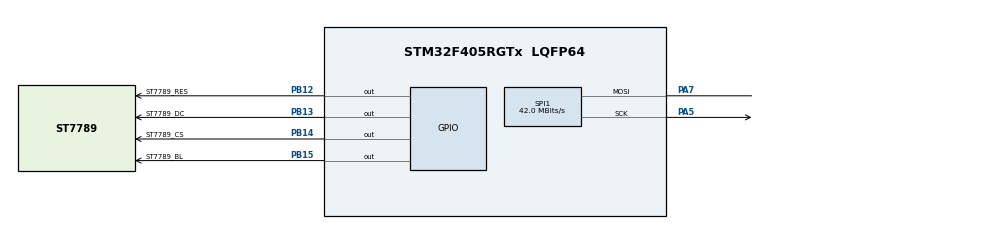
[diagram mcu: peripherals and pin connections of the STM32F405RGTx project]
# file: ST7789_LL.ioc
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Dma.Request0=SPI1_TX
Dma.SPI1_TX.0.Direction=DMA_MEMORY_TO_PERIPH
Dma.SPI1_TX.0.FIFOMode=DMA_FIFOMODE_DISABLE
Dma.SPI1_TX.0.Instance=DMA2_Stream3
Dma.SPI1_TX.0.MemDataAlignment=DMA_MDATAALIGN_HALFWORD
Dma.SPI1_TX.0.MemInc=DMA_MINC_ENABLE
Dma.SPI1_TX.0.Mode=DMA_NORMAL
Dma.SPI1_TX.0.PeriphDataAlignment=DMA_PDATAALIGN_HALFWORD
Dma.SPI1_TX.0.PeriphInc=DMA_PINC_DISABLE
Dma.SPI1_TX.0.Priority=DMA_PRIORITY_LOW
Mcu.Family=STM32F4
Mcu.Name=STM32F405RGTx
Mcu.Package=LQFP64
NVIC.DMA2_Stream3_IRQn=true\:0\:0\:false\:false\:true\:false\:true
NVIC.PriorityGroup=NVIC_PRIORITYGROUP_4
PA13.Mode=Serial_Wire
PA13.Signal=SYS_JTMS-SWDIO
PA14.Mode=Serial_Wire
PA14.Signal=SYS_JTCK-SWCLK
PA5.Mode=Simplex_Bidirectional_Master
PA5.Signal=SPI1_SCK
PA7.Mode=Simplex_Bidirectional_Master
PA7.Signal=SPI1_MOSI
PB12.GPIO_Label=ST7789_RES
PB12.Signal=GPIO_Output
PB13.GPIO_Label=ST7789_DC
PB13.Signal=GPIO_Output
PB14.GPIO_Label=ST7789_CS
PB14.Signal=GPIO_Output
PB15.GPIO_Label=ST7789_BL
PB15.Signal=GPIO_Output
PH0-OSC_IN.Mode=HSE-External-Oscillator
PH0-OSC_IN.Signal=RCC_OSC_IN
PH1-OSC_OUT.Mode=HSE-External-Oscillator
PH1-OSC_OUT.Signal=RCC_OSC_OUT
ProjectManager.HeapSize=0x200
ProjectManager.StackSize=0x400
ProjectManager.TargetToolchain=STM32CubeIDE
RCC.48MHZClocksFreq_Value=84000000
RCC.AHBFreq_Value=168000000
RCC.APB1CLKDivider=RCC_HCLK_DIV4
RCC.APB1Freq_Value=42000000
RCC.APB1TimFreq_Value=84000000
RCC.APB2CLKDivider=RCC_HCLK_DIV2
RCC.APB2Freq_Value=84000000
RCC.APB2TimFreq_Value=168000000
RCC.CortexFreq_Value=168000000
RCC.HCLKFreq_Value=168000000
RCC.HSE_VALUE=8000000
RCC.HSI_VALUE=16000000
RCC.LSE_VALUE=32768
RCC.PLLM=8
RCC.PLLN=168
RCC.SYSCLKFreq_VALUE=168000000
RCC.SYSCLKSource=RCC_SYSCLKSOURCE_PLLCLK
RCC.VCOOutputFreq_Value=336000000
SPI1.BaudRatePrescaler=SPI_BAUDRATEPRESCALER_2
SPI1.CLKPhase=SPI_PHASE_2EDGE
SPI1.CalculateBaudRate=42.0 MBits/s
SPI1.Direction=SPI_DIRECTION_1LINE
SPI1.Mode=SPI_MODE_MASTER
SPI1.VirtualType=VM_MASTER
board=custom

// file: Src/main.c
/* USER CODE BEGIN Header */
/**
  ******************************************************************************
  * @file           : main.c
  * @brief          : Main program body
  ******************************************************************************
  * @attention
  *
  * <h2><center>&copy; Copyright (c) 2020 STMicroelectronics.
  * All rights reserved.</center></h2>
  *
  * This software component is licensed by ST under BSD 3-Clause license,
  * the "License"; You may not use this file except in compliance with the
  * License. You may obtain a copy of the License at:
  *                        opensource.org/licenses/BSD-3-Clause
  *
  ******************************************************************************
  */
/* USER CODE END Header */

#include "main.h"
#include <st7789.h>
/* USER CODE BEGIN Includes */
#include "testimg.h"
#include <stdlib.h>
#include <stdio.h>

/* USER CODE END Includes */

/* USER CODE BEGIN PV */
uint8_t r = 0, randomChar, nchars;
extern volatile uint32_t flag_DMA_STREAM3_bsy;
uint32_t ticksStart, ticksEnd;
char str_time[10];
/* USER CODE END PV */

void SystemClock_Config(void);
static void MX_GPIO_Init(void);
static void MX_DMA_Init(void);
static void MX_SPI1_Init(void);

/* USER CODE BEGIN 0 */
void demoTFT(void)
{
    ST7789_SetRotation(r);

    ST7789_FillScreen(ST7789_BLACK);

    ST7789_FillScreen(ST7789_BLACK);

    for (int i = 0; i < ST7789_GetHeight(); i += 4) {
        ST7789_DrawFastHLine(0, i, ST7789_GetWidth() - 1, ST7789_WHITE);
    }

    for (int i = 0; i < ST7789_GetWidth(); i += 4) {
        ST7789_DrawFastVLine(i, 0, ST7789_GetHeight() - 1, ST7789_WHITE);
    }

    LL_mDelay(2000);

    // Check colors
    ST7789_FillScreen(ST7789_BLACK);
    ticksEnd = SysTick->VAL;
    ST7789_DrawText("BLACK", FONT5, 5, 1, ST7789_WHITE, ST7789_BLACK);
    LL_mDelay(500);

    ST7789_FillScreen(ST7789_Color565(0, 0, 255));
    ST7789_DrawText("BLUE", FONT5, 5, 1, ST7789_WHITE, ST7789_BLUE);
    LL_mDelay(500);

    ST7789_FillScreen(ST7789_Color565(255, 0, 0));
    ST7789_DrawText("RED", FONT5, 5, 1, ST7789_WHITE, ST7789_RED);
    LL_mDelay(500);

    ST7789_FillScreen(ST7789_Color565(0, 255, 0));
    ;
    ST7789_DrawText("GREEN", FONT5, 5, 1, ST7789_WHITE, ST7789_GREEN);
    LL_mDelay(500);

    ST7789_FillScreen(ST7789_CYAN);
    ST7789_DrawText("CYAN", FONT5, 5, 1, ST7789_WHITE, ST7789_CYAN);
    LL_mDelay(500);

    ST7789_FillScreen(ST7789_MAGENTA);
    ST7789_DrawText("MAGENTA", FONT5, 5, 1, ST7789_WHITE, ST7789_MAGENTA);
    LL_mDelay(500);

    ST7789_FillScreen(ST7789_YELLOW);
    ST7789_DrawText("YELLOW", FONT5, 5, 1, ST7789_WHITE, ST7789_YELLOW);
    LL_mDelay(500);

    ST7789_FillScreen(ST7789_WHITE);
    ST7789_DrawText("WHITE", FONT5, 5, 1, ST7789_BLACK, ST7789_WHITE);
    LL_mDelay(500);

    // Draw circles
    ST7789_FillScreen(ST7789_BLACK);
    for (int i = 0; i < ST7789_GetHeight() / 2; i += 2) {
        ST7789_DrawCircle(ST7789_GetWidth() / 2, ST7789_GetHeight() / 2, i, ST7789_YELLOW);
    }
    LL_mDelay(1000);

    ST7789_FillScreen(ST7789_BLACK);
    ST7789_FillTriangle(0, 0, ST7789_GetWidth() / 2, ST7789_GetHeight(), ST7789_GetWidth(), 0, ST7789_RED);
    LL_mDelay(1000);

    ST7789_FillScreen(ST7789_BLACK);

    SysTick->CTRL = 0; // Disable SysTick
    SysTick->LOAD = 0xFFFFFF; // Count down from maximum value
    SysTick->VAL = 0; // Clear current value to 0
    SysTick->CTRL = 0x5; // Enable SysTick,  and use processor clock
    while (SysTick->VAL == 0)
        ; // Wait until SysTick reloaded
    ticksStart = SysTick->VAL; // Read start time value

    ST7789_DrawImage(0, 0, 128, 128, (uint16_t*)test_img_128x128);

    ticksEnd = SysTick->VAL;
    SysTick->CTRL = 0; // Disable SysTick
    if ((SysTick->CTRL & 0x10000) == 0) // if no overflow
        nchars = sprintf(str_time, "Ticks: %lu", ticksStart - ticksEnd); // Calculate total cycles
    else
        nchars = sprintf(str_time, "overflow");

    ST7789_DrawText(str_time, FONT3, 5, 110, ST7789_WHITE, ST7789_BLACK);
    SysTick->LOAD = 0x1193F;
    SysTick->CTRL = 0x5; // Enable SysTick
    LL_mDelay(3000);

    ST7789_FillScreen(ST7789_BLACK);
    ST7789_DrawText("Custom font", FONT6, 5, 15, ST7789_WHITE, ST7789_BLACK);
    ST7789_DrawText("ABCDEFGHI", FONT6, 5, 40, ST7789_WHITE, ST7789_BLACK);
    ST7789_DrawText("lmnopqrst", FONT6, 5, 65, ST7789_WHITE, ST7789_BLACK);
    ST7789_DrawText("0123456789", FONT6, 5, 90, ST7789_WHITE, ST7789_BLACK);
    LL_mDelay(2000);
    r++;
}
/* USER CODE END 0 */

int main(void)
{

  /* MCU Configuration--------------------------------------------------------*/

  /* Reset of all peripherals, Initializes the Flash interface and the Systick. */

  LL_APB2_GRP1_EnableClock(LL_APB2_GRP1_PERIPH_SYSCFG);
  LL_APB1_GRP1_EnableClock(LL_APB1_GRP1_PERIPH_PWR);

  NVIC_SetPriorityGrouping(NVIC_PRIORITYGROUP_4);

  /* System interrupt init*/

  /* Configure the system clock */
  SystemClock_Config();

  /* Initialize all configured peripherals */
  MX_GPIO_Init();
  MX_DMA_Init();
  MX_SPI1_Init();
  /* USER CODE BEGIN 2 */
  LL_DMA_DisableStream(DMA2, LL_DMA_STREAM_3);
  LL_SPI_Enable(SPI1);
  ST7789_Init();
  /* USER CODE END 2 */

  /* Infinite loop */
  while (1)
  {

    /* USER CODE BEGIN 3 */
     demoTFT();
  }
  /* USER CODE END 3 */
}

void SystemClock_Config(void)
{
  /* Set up Art acceleration */
  LL_FLASH_EnablePrefetch(); // enable Prefetch
  LL_FLASH_EnableInstCache(); // Enable Instruction cache
  LL_FLASH_EnableDataCache(); //  Enable Data cache
  LL_FLASH_SetLatency(LL_FLASH_LATENCY_5);

  if(LL_FLASH_GetLatency() != LL_FLASH_LATENCY_5)
  {
  Error_Handler();
  }
  LL_PWR_SetRegulVoltageScaling(LL_PWR_REGU_VOLTAGE_SCALE1);
  LL_RCC_HSE_Enable();

   /* Wait till HSE is ready */
  while(LL_RCC_HSE_IsReady() != 1)
  {

  }
  LL_RCC_PLL_ConfigDomain_SYS(LL_RCC_PLLSOURCE_HSE, LL_RCC_PLLM_DIV_4, 168, LL_RCC_PLLP_DIV_2);
  LL_RCC_PLL_Enable();

   /* Wait till PLL is ready */
  while(LL_RCC_PLL_IsReady() != 1)
  {

  }
  LL_RCC_SetAHBPrescaler(LL_RCC_SYSCLK_DIV_1);
  LL_RCC_SetAPB1Prescaler(LL_RCC_APB1_DIV_4);
  LL_RCC_SetAPB2Prescaler(LL_RCC_APB2_DIV_2);
  LL_RCC_SetSysClkSource(LL_RCC_SYS_CLKSOURCE_PLL);

   /* Wait till System clock is ready */
  while(LL_RCC_GetSysClkSource() != LL_RCC_SYS_CLKSOURCE_STATUS_PLL)
  {

  }
  LL_Init1msTick(168000000);
  LL_SetSystemCoreClock(168000000);
}

static void MX_SPI1_Init(void)
{

  LL_SPI_InitTypeDef SPI_InitStruct = {0};

  LL_GPIO_InitTypeDef GPIO_InitStruct = {0};

  /* Peripheral clock enable */
  LL_APB2_GRP1_EnableClock(LL_APB2_GRP1_PERIPH_SPI1);

  LL_AHB1_GRP1_EnableClock(LL_AHB1_GRP1_PERIPH_GPIOA);
  /**SPI1 GPIO Configuration
  PA5   ------> SPI1_SCK
  PA7   ------> SPI1_MOSI
  */
  GPIO_InitStruct.Pin = LL_GPIO_PIN_5|LL_GPIO_PIN_7;
  GPIO_InitStruct.Mode = LL_GPIO_MODE_ALTERNATE;
  GPIO_InitStruct.Speed = LL_GPIO_SPEED_FREQ_VERY_HIGH;
  GPIO_InitStruct.OutputType = LL_GPIO_OUTPUT_PUSHPULL;
  GPIO_InitStruct.Pull = LL_GPIO_PULL_NO;
  GPIO_InitStruct.Alternate = LL_GPIO_AF_5;
  LL_GPIO_Init(GPIOA, &GPIO_InitStruct);

  /* SPI1 DMA Init */

  /* SPI1_TX Init */
  LL_DMA_SetChannelSelection(DMA2, LL_DMA_STREAM_3, LL_DMA_CHANNEL_3);
  LL_DMA_SetDataTransferDirection(DMA2, LL_DMA_STREAM_3, LL_DMA_DIRECTION_MEMORY_TO_PERIPH);
  LL_DMA_SetStreamPriorityLevel(DMA2, LL_DMA_STREAM_3, LL_DMA_PRIORITY_LOW);
  LL_DMA_SetMode(DMA2, LL_DMA_STREAM_3, LL_DMA_MODE_NORMAL);
  LL_DMA_SetPeriphIncMode(DMA2, LL_DMA_STREAM_3, LL_DMA_PERIPH_NOINCREMENT);
  LL_DMA_SetMemoryIncMode(DMA2, LL_DMA_STREAM_3, LL_DMA_MEMORY_INCREMENT);
  LL_DMA_SetPeriphSize(DMA2, LL_DMA_STREAM_3, LL_DMA_PDATAALIGN_HALFWORD);
  LL_DMA_SetMemorySize(DMA2, LL_DMA_STREAM_3, LL_DMA_MDATAALIGN_HALFWORD);
  LL_DMA_DisableFifoMode(DMA2, LL_DMA_STREAM_3);

  /* SPI1 parameter configuration*/
  SPI_InitStruct.TransferDirection = LL_SPI_HALF_DUPLEX_TX;
  SPI_InitStruct.Mode = LL_SPI_MODE_MASTER;
  SPI_InitStruct.DataWidth = LL_SPI_DATAWIDTH_8BIT;
  SPI_InitStruct.ClockPolarity = LL_SPI_POLARITY_HIGH;
  SPI_InitStruct.ClockPhase = LL_SPI_PHASE_2EDGE;
  SPI_InitStruct.NSS = LL_SPI_NSS_SOFT;
  SPI_InitStruct.BaudRate = LL_SPI_BAUDRATEPRESCALER_DIV2;
  SPI_InitStruct.BitOrder = LL_SPI_MSB_FIRST;
  SPI_InitStruct.CRCCalculation = LL_SPI_CRCCALCULATION_DISABLE;
  SPI_InitStruct.CRCPoly = 10;
  LL_SPI_Init(SPI1, &SPI_InitStruct);
  LL_SPI_SetStandard(SPI1, LL_SPI_PROTOCOL_MOTOROLA);

}

static void MX_DMA_Init(void)
{

  /* Init with LL driver */
  /* DMA controller clock enable */
  LL_AHB1_GRP1_EnableClock(LL_AHB1_GRP1_PERIPH_DMA2);

  /* DMA interrupt init */
  /* DMA2_Stream3_IRQn interrupt configuration */
  NVIC_SetPriority(DMA2_Stream3_IRQn, NVIC_EncodePriority(NVIC_GetPriorityGrouping(),0, 0));
  NVIC_EnableIRQ(DMA2_Stream3_IRQn);

}

static void MX_GPIO_Init(void)
{
  LL_GPIO_InitTypeDef GPIO_InitStruct = {0};

  /* GPIO Ports Clock Enable */
  LL_AHB1_GRP1_EnableClock(LL_AHB1_GRP1_PERIPH_GPIOH);
  LL_AHB1_GRP1_EnableClock(LL_AHB1_GRP1_PERIPH_GPIOA);
  LL_AHB1_GRP1_EnableClock(LL_AHB1_GRP1_PERIPH_GPIOB);

  /**/
  LL_GPIO_ResetOutputPin(GPIOB, ST7789_RES_Pin|ST7789_DC_Pin|ST7789_CS_Pin|ST7789_BL_Pin);

  /**/
  GPIO_InitStruct.Pin = ST7789_RES_Pin|ST7789_DC_Pin|ST7789_CS_Pin|ST7789_BL_Pin;
  GPIO_InitStruct.Mode = LL_GPIO_MODE_OUTPUT;
  GPIO_InitStruct.Speed = LL_GPIO_SPEED_FREQ_LOW;
  GPIO_InitStruct.OutputType = LL_GPIO_OUTPUT_PUSHPULL;
  GPIO_InitStruct.Pull = LL_GPIO_PULL_NO;
  LL_GPIO_Init(GPIOB, &GPIO_InitStruct);

}

/* USER CODE BEGIN 4 */
void DMA2_Stream3_TransferComplete(void)
{
    flag_DMA_STREAM3_bsy = 1;
}
/* USER CODE END 4 */

void Error_Handler(void)
{
}

/************************ (C) COPYRIGHT STMicroelectronics *****END OF FILE****/
